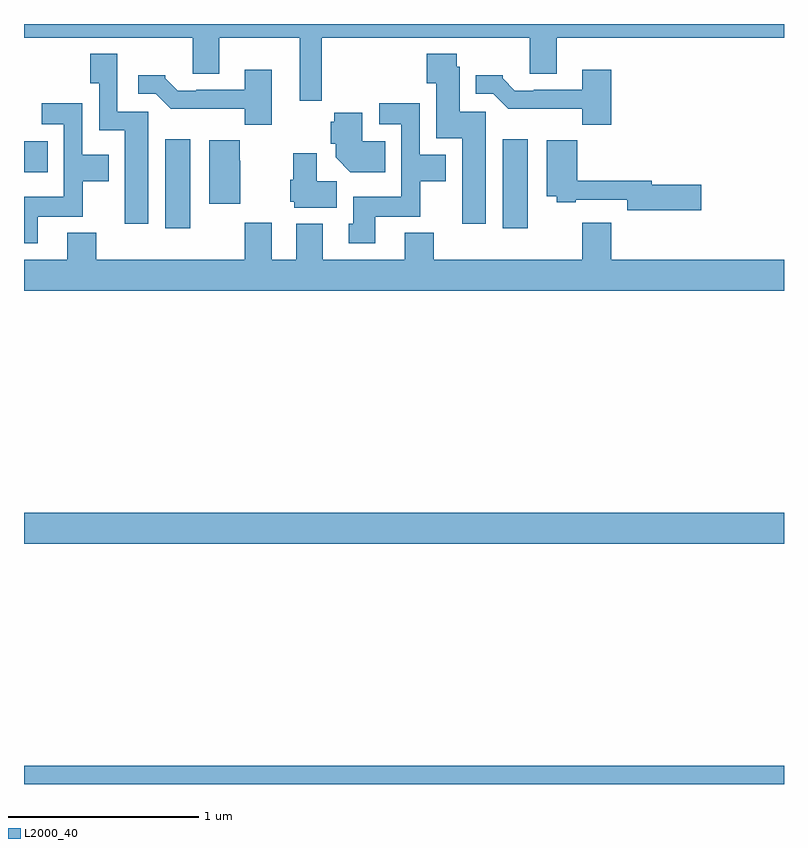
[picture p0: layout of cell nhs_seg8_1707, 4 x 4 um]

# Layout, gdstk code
import gdstk
lib = gdstk.Library(unit=1e-6, precision=1e-09)
def R(c, l, rs):  # rectangles x0, y0, x1, y1
    for r in rs: c.add(gdstk.rectangle(r[:2], r[2:], *l))
def P(c, l, *ps):  # polygons
    for p in ps: c.add(gdstk.Polygon(p, *l))
L2000_40 = (2000, 40)

nhs_seg8_1707 = lib.new_cell('nhs_seg8_1707')
R(nhs_seg8_1707, L2000_40, [(219,1117.9,223,1117.996), (219,1119.164,223,1119.328), (219.743,1120.824,219.874,1121.293), (221.519,1120.824,221.65,1121.293), (219,1121.12,219.125,1121.284)])
P(nhs_seg8_1707, L2000_40, [(220.568,1121.828),(221.663,1121.828),(221.663,1121.638),(221.803,1121.638),(221.803,1121.828),(223,1121.828),(223,1121.9),(219,1121.9),(219,1121.828),(219.887,1121.828),(219.887,1121.638),(220.027,1121.638),(220.027,1121.828),(220.451,1121.828),(220.451,1121.496),(220.568,1121.496)],
  [(219.655,1121.439),(219.492,1121.439),(219.492,1121.743),(219.349,1121.743),(219.349,1121.587),(219.396,1121.587),(219.396,1121.342),(219.53,1121.342),(219.53,1120.848),(219.655,1120.848)],
  [(221.431,1121.439),(221.293,1121.439),(221.293,1121.676),(221.277,1121.676),(221.277,1121.743),(221.12,1121.743),(221.12,1121.587),(221.171,1121.587),(221.171,1121.3),(221.306,1121.3),(221.306,1120.848),(221.431,1120.848)],
  [(222.092,1121.659),(221.939,1121.659),(221.939,1121.553),(221.683,1121.553),(221.683,1121.55),(221.584,1121.55),(221.52,1121.614),(221.52,1121.629),(221.378,1121.629),(221.378,1121.532),(221.469,1121.532),(221.548,1121.454),(221.937,1121.454),(221.937,1121.369),(222.092,1121.369)],
  [(220.303,1121.659),(220.163,1121.659),(220.163,1121.553),(219.907,1121.553),(219.907,1121.55),(219.808,1121.55),(219.744,1121.614),(219.744,1121.629),(219.6,1121.629),(219.6,1121.532),(219.693,1121.532),(219.772,1121.454),(220.161,1121.454),(220.161,1121.369),(220.303,1121.369)],
  [(219.073,1120.886),(219.309,1120.886),(219.309,1121.072),(219.445,1121.072),(219.445,1121.212),(219.306,1121.212),(219.306,1121.482),(219.093,1121.482),(219.093,1121.373),(219.21,1121.373),(219.21,1120.99),(219,1120.99),(219,1120.746),(219.073,1120.746)],
  [(220.849,1120.886),(221.085,1120.886),(221.085,1121.072),(221.221,1121.072),(221.221,1121.212),(221.082,1121.212),(221.082,1121.482),(220.869,1121.482),(220.869,1121.373),(220.986,1121.373),(220.986,1120.99),(220.733,1120.99),(220.733,1120.848),(220.709,1120.848),(220.709,1120.746),(220.849,1120.746)],
  [(220.901,1121.284),(220.78,1121.284),(220.78,1121.434),(220.633,1121.434),(220.633,1121.385),(220.615,1121.385),(220.615,1121.271),(220.64,1121.271),(220.64,1121.198),(220.718,1121.12),(220.901,1121.12)],
  [(222.565,1121.054),(222.304,1121.054),(222.304,1121.075),(221.912,1121.075),(221.912,1121.287),(221.75,1121.287),(221.75,1120.994),(221.805,1120.994),(221.805,1120.962),(221.905,1120.962),(221.905,1120.974),(222.176,1120.974),(222.176,1120.919),(222.565,1120.919)],
  [(220.138,1121.18),(220.136,1121.18),(220.136,1121.287),(219.974,1121.287),(219.974,1120.953),(220.138,1120.953)],
  [(220.645,1121.072),(220.54,1121.072),(220.54,1121.221),(220.418,1121.221),(220.418,1121.079),(220.4,1121.079),(220.4,1120.965),(220.422,1120.965),(220.422,1120.934),(220.645,1120.934)],
  [(223,1120.66),(222.092,1120.66),(222.092,1120.855),(221.939,1120.855),(221.939,1120.66),(221.156,1120.66),(221.156,1120.801),(221.003,1120.801),(221.003,1120.66),(220.573,1120.66),(220.573,1120.849),(220.433,1120.849),(220.433,1120.66),(220.303,1120.66),(220.303,1120.855),(220.163,1120.855),(220.163,1120.66),(219.38,1120.66),(219.38,1120.801),(219.227,1120.801),(219.227,1120.66),(219,1120.66),(219,1120.496),(223,1120.496)])

lib.write_gds('nhs_seg8_1707.gds')
